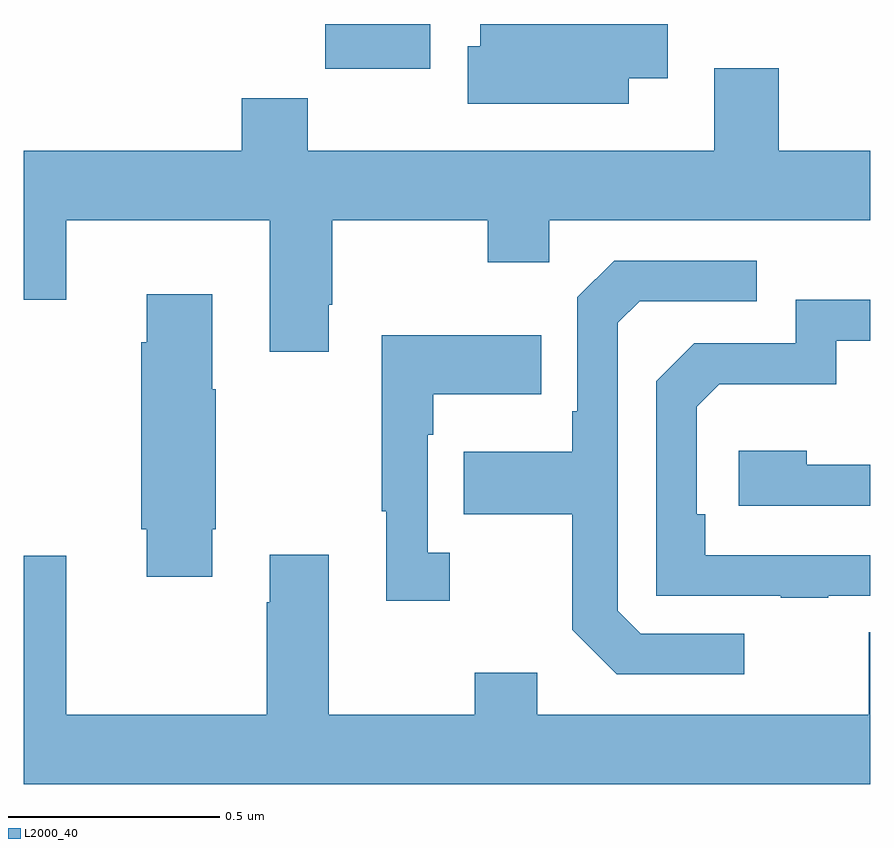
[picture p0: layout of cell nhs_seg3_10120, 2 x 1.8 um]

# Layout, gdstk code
import gdstk
lib = gdstk.Library(unit=1e-6, precision=1e-09)
def R(c, l, rs):  # rectangles x0, y0, x1, y1
    for r in rs: c.add(gdstk.rectangle(r[:2], r[2:], *l))
def P(c, l, *ps):  # polygons
    for p in ps: c.add(gdstk.Polygon(p, *l))
L2000_40 = (2000, 40)

nhs_seg3_10120 = lib.new_cell('nhs_seg3_10120')
R(nhs_seg3_10120, L2000_40, [(237.712,681.294,237.961,681.4)])
P(nhs_seg3_10120, L2000_40, [(238.429,681.272),(238.522,681.272),(238.522,681.4),(238.079,681.4),(238.079,681.347),(238.049,681.347),(238.049,681.212),(238.429,681.212)],
  [(237.721,680.737),(237.729,680.737),(237.729,680.936),(238.096,680.936),(238.096,680.837),(238.242,680.837),(238.242,680.936),(239,680.936),(239,681.1),(238.784,681.1),(238.784,681.295),(238.631,681.295),(238.631,681.1),(237.671,681.1),(237.671,681.224),(237.515,681.224),(237.515,681.1),(237,681.1),(237,680.748),(237.1,680.748),(237.1,680.936),(237.581,680.936),(237.581,680.625),(237.721,680.625)],
  [(238.702,679.959),(238.458,679.959),(238.404,680.013),(238.404,680.694),(238.455,680.745),(238.732,680.745),(238.732,680.841),(238.395,680.841),(238.308,680.754),(238.308,680.485),(238.296,680.485),(238.296,680.389),(238.039,680.389),(238.039,680.242),(238.296,680.242),(238.296,679.969),(238.401,679.863),(238.702,679.863)],
  [(237.445,680.206),(237.453,680.206),(237.453,680.537),(237.445,680.537),(237.445,680.761),(237.29,680.761),(237.29,680.648),(237.278,680.648),(237.278,680.206),(237.29,680.206),(237.29,680.094),(237.445,680.094)],
  [(238.901,680.049),(239,680.049),(239,680.145),(238.61,680.145),(238.61,680.242),(238.59,680.242),(238.59,680.496),(238.643,680.549),(238.92,680.549),(238.92,680.652),(239,680.652),(239,680.748),(238.824,680.748),(238.824,680.646),(238.584,680.646),(238.494,680.556),(238.494,680.049),(238.789,680.049),(238.789,680.044),(238.901,680.044)],
  [(238.006,680.15),(237.954,680.15),(237.954,680.429),(237.967,680.429),(237.967,680.525),(238.223,680.525),(238.223,680.665),(237.846,680.665),(237.846,680.249),(237.857,680.249),(237.857,680.037),(238.006,680.037)],
  [(239,680.358),(238.85,680.358),(238.85,680.392),(238.689,680.392),(238.689,680.262),(239,680.262)],
  [(239,679.963),(238.997,679.963),(238.997,679.768),(238.213,679.768),(238.213,679.867),(238.066,679.867),(238.066,679.768),(237.721,679.768),(237.721,680.146),(237.581,680.146),(237.581,680.033),(237.574,680.033),(237.574,679.768),(237.1,679.768),(237.1,680.143),(237,680.143),(237,679.604),(239,679.604)])

lib.write_gds('nhs_seg3_10120.gds')
